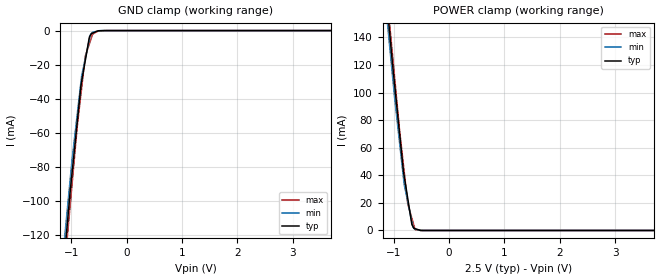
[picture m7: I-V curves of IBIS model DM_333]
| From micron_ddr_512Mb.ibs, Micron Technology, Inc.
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|   MODEL DM_333
[Model]   DM_333
Model_type   Input
Vinl = 0.940V
Vinh = 1.560V
|   typ   min   max
C_comp   3.85pF   3.70pF   4.00pF
[Model Spec]
| Input threshold voltage corners
Vinh   1.560V   1.460V   1.660V
Vinl   0.940V   0.840V   1.040V
| Overshoot/Undershoot
S_overshoot_high   2.800V   2.600V   3.000V
S_overshoot_low   -0.300V   -0.300V   -0.300V
D_overshoot_high   4.000V   3.800V   4.200V
D_overshoot_low   -1.500V   -1.500V   -1.500V
D_overshoot_time   2.000n   2.000n   2.000n
[Receiver Thresholds]
Vth   =  1.250V
Vth_min  =  1.225V
Vth_max  =  1.275V
Vinh_ac  =  0.310V
Vinh_dc  =  0.150V
Vinl_ac  = -0.310V
Vinl_dc  = -0.150V
Tslew_ac =  10.000ns |Not specified, so set to high value
Threshold_sensitivity = 0.50
Reference_supply Power_clamp_ref
[Voltage Range]   2.500V   2.300V   2.700V
[POWER Clamp Reference]   2.500V   2.300V   2.700V
| Junction Temperature (Ambient temp is 25C typ, 70C min, 0C max)
[Temperature Range]   40.0   85.0   0.0
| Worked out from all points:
|   GND clamp passes 1 mA (typ) near -0.58 V on its own axis
|   POWER clamp passes 1 mA (typ) near -0.59 V on its own axis
[GND Clamp]
|   Voltage   I(typ)   I(min)   I(max)
-2.5V     -674mA     -647mA     -703mA
-1.135V   -137mA     -126.7mA   -145.5mA
-1.075V   -114.9mA   -106.4mA   -122.6mA
-1.02V    -94.69mA   -87.76mA   -102.7mA
-980mV    -81.93mA   -74.33mA   -88.25mA
-890mV    -53.21mA   -48.81mA   -55.8mA
-825mV    -32.47mA   -30.37mA   -37.41mA
-745mV    -17.4mA    -16.42mA   -14.82mA
-670mV    -3.692mA   -4.975mA   -7.593mA
-615mV    -1.505mA   -1.035mA   -2.295mA
-400mV    -12.3uA    -4.822uA   -24.3uA
5V        0A         0A         0A
[POWER Clamp]
|   Voltage   I(typ)   I(min)   I(max)
-2.5V     809mA      782.6mA    834.3mA
-1.13V    168mA      157.4mA    174.5mA
-1.075V   144mA      134.4mA    149.9mA
-1.02V    119.9mA    111.5mA    126.4mA
-980mV    104.2mA    94.9mA     109.4mA
-890mV    68.75mA    62.15mA    70.97mA
-810mV    39.19mA    33.34mA    42.3mA
-745mV    22.8mA     20.55mA    19.05mA
-670mV    4.223mA    5.789mA    8.613mA
-650mV    2.722mA    2.304mA    5.83mA
-610mV    1.222mA    880.6uA    536.6uA
5V        0A         0A         0A
